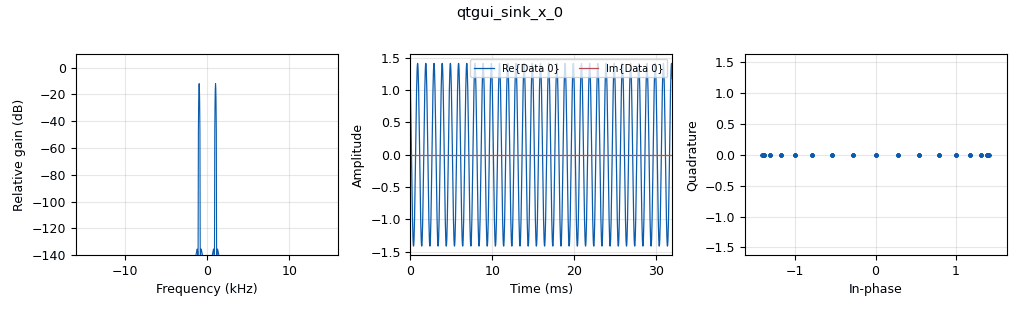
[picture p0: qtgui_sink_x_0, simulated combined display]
<?xml version='1.0' encoding='utf-8'?>
<?grc format='1' created='3.7.10'?>
<flow_graph>
<block>
<key>options</key>
<param><key>id</key><value>top_block</value></param>
<param><key>generate_options</key><value>qt_gui</value></param>
</block>
<block>
<key>variable</key>
<param><key>id</key><value>samp_rate</value></param>
<param><key>value</key><value>32e3</value></param>
</block>
<block>
<key>analog_const_source_x</key>
<param><key>id</key><value>analog_const_source_x_0</value></param>
<param><key>const</key><value>0</value></param>
<param><key>type</key><value>float</value></param>
</block>
<block>
<key>analog_sig_source_x</key>
<param><key>id</key><value>analog_sig_source_x_0</value></param>
<param><key>amp</key><value>1</value></param>
<param><key>freq</key><value>1000</value></param>
<param><key>offset</key><value>0</value></param>
<param><key>type</key><value>float</value></param>
<param><key>samp_rate</key><value>samp_rate</value></param>
<param><key>waveform</key><value>analog.GR_COS_WAVE</value></param>
</block>
<block>
<key>analog_sig_source_x</key>
<param><key>id</key><value>analog_sig_source_x_0_0</value></param>
<param><key>amp</key><value>1</value></param>
<param><key>freq</key><value>1000</value></param>
<param><key>offset</key><value>0</value></param>
<param><key>type</key><value>float</value></param>
<param><key>samp_rate</key><value>samp_rate</value></param>
<param><key>waveform</key><value>analog.GR_SIN_WAVE</value></param>
</block>
<block>
<key>blocks_add_xx</key>
<param><key>id</key><value>blocks_add_xx_0</value></param>
<param><key>type</key><value>float</value></param>
</block>
<block>
<key>blocks_float_to_complex</key>
<param><key>id</key><value>blocks_float_to_complex_0</value></param>
</block>
<block>
<key>blocks_multiply_const_vxx</key>
<param><key>id</key><value>blocks_multiply_const_vxx_0</value></param>
<param><key>const</key><value>-1</value></param>
<param><key>type</key><value>float</value></param>
</block>
<block>
<key>qtgui_sink_x</key>
<param><key>id</key><value>qtgui_sink_x_0</value></param>
<param><key>bw</key><value>samp_rate</value></param>
<param><key>fc</key><value>0</value></param>
<param><key>freqchangevar</key><value>None</value></param>
<param><key>fftsize</key><value>1024</value></param>
<param><key>showports</key><value>True</value></param>
<param><key>type</key><value>complex</value></param>
<param><key>wintype</key><value>firdes.WIN_BLACKMAN_hARRIS</value></param>
</block>
<connection><source_block_id>analog_const_source_x_0</source_block_id><sink_block_id>blocks_float_to_complex_0</sink_block_id><source_key>0</source_key><sink_key>1</sink_key></connection>
<connection><source_block_id>analog_sig_source_x_0</source_block_id><sink_block_id>blocks_add_xx_0</sink_block_id><source_key>0</source_key><sink_key>0</sink_key></connection>
<connection><source_block_id>analog_sig_source_x_0_0</source_block_id><sink_block_id>blocks_multiply_const_vxx_0</sink_block_id><source_key>0</source_key><sink_key>0</sink_key></connection>
<connection><source_block_id>blocks_add_xx_0</source_block_id><sink_block_id>blocks_float_to_complex_0</sink_block_id><source_key>0</source_key><sink_key>0</sink_key></connection>
<connection><source_block_id>blocks_float_to_complex_0</source_block_id><sink_block_id>qtgui_sink_x_0</sink_block_id><source_key>0</source_key><sink_key>0</sink_key></connection>
<connection><source_block_id>blocks_multiply_const_vxx_0</source_block_id><sink_block_id>blocks_add_xx_0</sink_block_id><source_key>0</source_key><sink_key>1</sink_key></connection>
</flow_graph>
